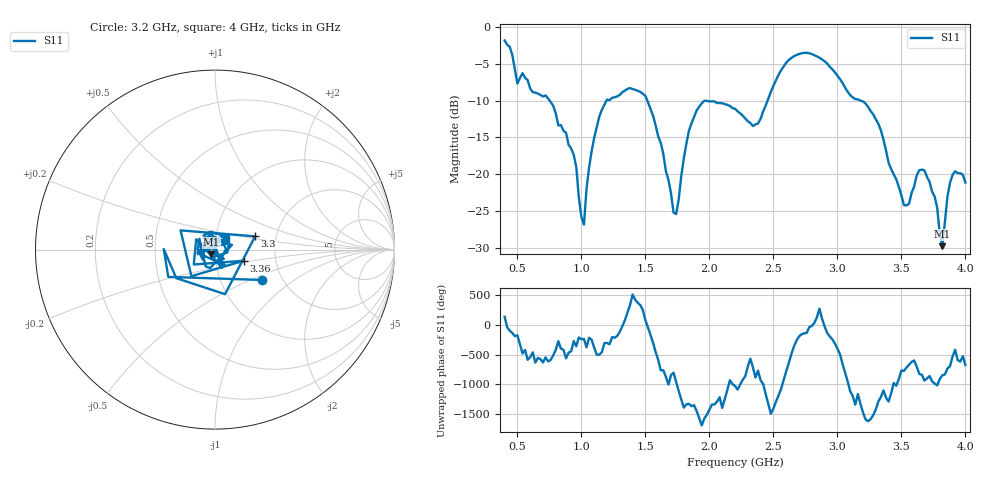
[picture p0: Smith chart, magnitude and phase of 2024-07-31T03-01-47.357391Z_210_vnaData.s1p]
!Created with skrf (http://scikit-rf.org).
# Hz S RI R 50.0
!freq ReS11 ImS11
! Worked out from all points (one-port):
!   181 points, 400 MHz to 4 GHz, reference 50 ohm
!   lowest |S11| = -29.8 dB at 3.82 GHz (marker M1), VSWR 1.07, Z = 48 - j2.48 ohm
!   |S11| at or under -10 dB: 751.4 MHz to 1.196 GHz (445 MHz wide, 45.7 % of centre); 1.515 GHz to 2.454 GHz (939.7 MHz wide, 47.4 % of centre); 3.179 GHz to end of sweep
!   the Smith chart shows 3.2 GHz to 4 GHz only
!   S11 on the Smith chart (normalised r, x): 3.2 GHz: 1.57, -0.59; 3.3 GHz: 1.55, +0.24; 3.36 GHz: 1.37, -0.18; 4 GHz: 1.12, +0.15
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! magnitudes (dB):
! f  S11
! 400 MHz  -1.8
! 500 MHz  -7.7
! 720 MHz  -9.3
! 860 MHz  -14.1
! 940 MHz  -17.4
! 1.02 GHz  -26.9
! 1.06 GHz  -19.1
! 1.14 GHz  -12.2
! 1.3 GHz  -9.2
! 1.5 GHz  -9.4
! 1.62 GHz  -15.7
! 1.72 GHz  -25.2
! 1.76 GHz  -23.5
! 1.84 GHz  -14.1
! 1.9 GHz  -11.4
! 2.2 GHz  -11.1
! 2.38 GHz  -13.1
! 2.66 GHz  -4.0
! 3.1 GHz  -9.3
! 3.2 GHz  -10.1
! 3.3 GHz  -12.6
! 3.36 GHz  -15.3
! 3.56 GHz  -24.0
! 3.68 GHz  -19.5
! 3.76 GHz  -23.0
! 3.82 GHz  -29.8
! 3.9 GHz  -20.1
! 4 GHz  -21.1
